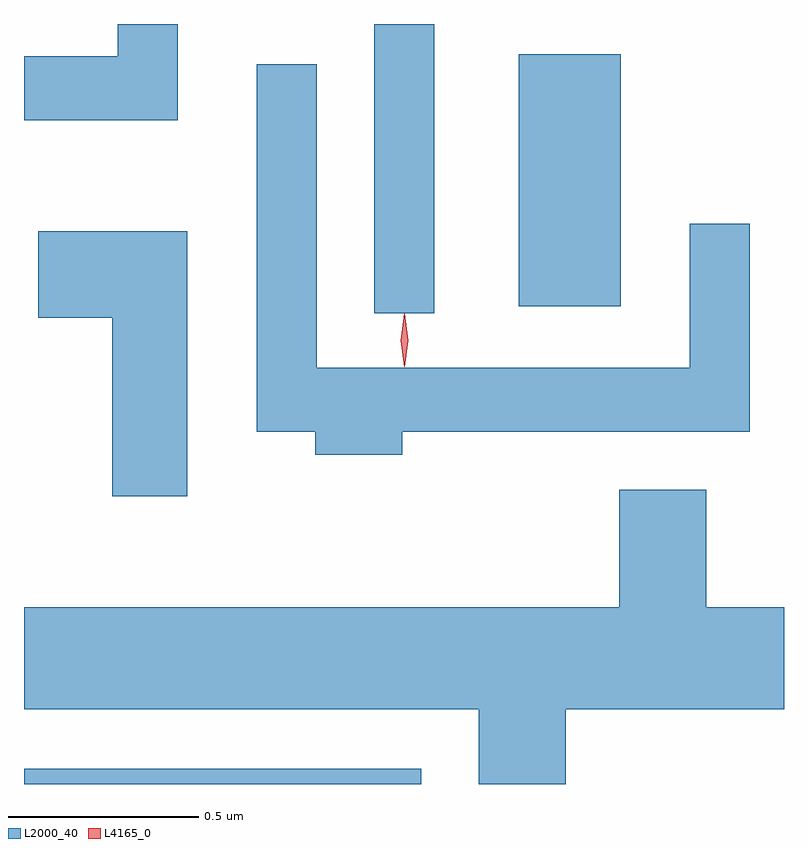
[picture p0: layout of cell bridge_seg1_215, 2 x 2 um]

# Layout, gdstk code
import gdstk
lib = gdstk.Library(unit=1e-6, precision=1e-09)
def R(c, l, rs):  # rectangles x0, y0, x1, y1
    for r in rs: c.add(gdstk.rectangle(r[:2], r[2:], *l))
def P(c, l, *ps):  # polygons
    for p in ps: c.add(gdstk.Polygon(p, *l))
L2000_40 = (2000, 40)
L4165_0 = (4165, 0)

bridge_seg1_215 = lib.new_cell('bridge_seg1_215')
R(bridge_seg1_215, L2000_40, [(811.504,965.979,812.549,966.019), (812.426,967.218,812.584,967.979), (812.806,967.236,813.074,967.899)])
P(bridge_seg1_215, L2000_40, [(811.909,967.979),(811.751,967.979),(811.751,967.894),(811.504,967.894),(811.504,967.726),(811.909,967.726)],
  [(812.499,966.906),(813.414,966.906),(813.414,967.453),(813.256,967.453),(813.256,967.074),(812.274,967.074),(812.274,967.873),(812.116,967.873),(812.116,966.906),(812.271,966.906),(812.271,966.846),(812.499,966.846)],
  [(811.934,967.434),(811.541,967.434),(811.541,967.206),(811.736,967.206),(811.736,966.736),(811.934,966.736)],
  [(812.929,966.176),(813.504,966.176),(813.504,966.444),(813.299,966.444),(813.299,966.754),(813.071,966.754),(813.071,966.444),(811.504,966.444),(811.504,966.176),(812.701,966.176),(812.701,965.979),(812.929,965.979)])
P(bridge_seg1_215, L4165_0, [(812.505,967.08),(812.505,967.08),(812.495,967.146),(812.505,967.212),(812.505,967.213),(812.506,967.212),(812.515,967.146),(812.506,967.08)],
  [(812.505,967.077),(812.505,967.077),(812.495,967.147),(812.505,967.216),(812.505,967.216),(812.506,967.216),(812.515,967.147),(812.506,967.077)])

lib.write_gds('bridge_seg1_215.gds')
